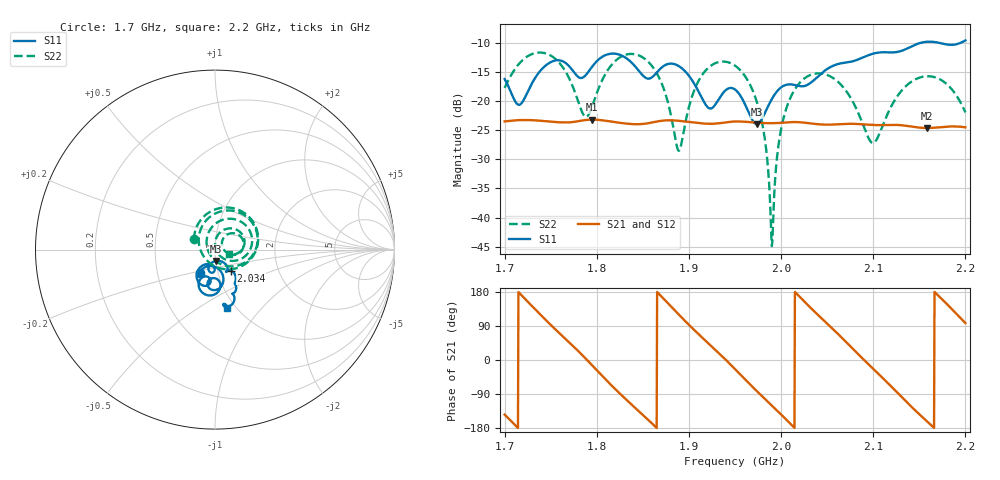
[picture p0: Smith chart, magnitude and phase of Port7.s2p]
# Hz S RI R 50
! CMT, CMT808U, 21440046, 21.4.3/4
! Date: 11/17/2025 2:46:16 PM
! Data: Format (Calibration Info)
! Freq	S11:Re/Im(F2)	S41:Re/Im(F2)	S14:Re/Im(F2)	S44:Re/Im(F2)
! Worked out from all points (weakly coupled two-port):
!   1001 points, 1.7 GHz to 2.2 GHz, reference 50 ohm
!   highest |S21| = -23.15 dB at 1.795 GHz (marker M1); lowest = -24.6 dB at 2.159 GHz (marker M2)
!   lowest |S11| = -23.9 dB at 1.974 GHz (marker M3), VSWR 1.14, Z = 50.3 - j6.39 ohm
!   |S11| at or under -10 dB: start of sweep to 2.15 GHz; 2.173 GHz to 2.194 GHz (20.28 MHz wide, 0.929 % of centre)
!   |S22| runs from -44.9 to -11.6 dB; largest |S21 - S12| = 0.00016
!   S11 on the Smith chart (normalised r, x): 1.7 GHz: 0.82, -0.22; 2.034 GHz: 1.16, -0.28; 2.2 GHz: 0.91, -0.67
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1.7e9  -0.083 -0.1315  -0.0544 -0.0393  -0.0545 -0.0393  -0.117 0.0577
1.7165e9  -0.00985 -0.0932  -0.0688 0.00543  -0.0688 0.00554  -0.0234 0.2128
1.745e9  0.0368 -0.2013  -0.0172 0.0652  -0.0171 0.0652  0.2321 0.1127
1.765e9  -0.0323 -0.2147  0.0349 0.0557  0.035 0.0557  0.1684 -0.0803
1.7835e9  -0.00437 -0.1588  0.0659 0.0175  0.066 0.0174  -0.0217 -0.0801
1.795e9  0.0303 -0.1965  0.0674 -0.0173  0.0674 -0.0174  -0.0879 0.0224
1.8285e9  -0.0777 -0.2319  -0.00742 -0.0644  -0.00752 -0.0644  0.1363 0.2059
1.867e9  -0.0255 -0.1821  -0.0672 0.00512  -0.0672 0.00521  0.14 -0.0848
1.889e9  -0.094 -0.1777  -0.0338 0.059  -0.0337 0.0591  -0.0337 -0.0167
1.914e9  -0.064 -0.0858  0.0322 0.0559  0.0323 0.0559  0.0354 0.1633
1.95e9  -0.0308 -0.1227  0.0612 -0.0275  0.0612 -0.0276  0.2022 0.0169
1.9735e9  0.00728 -0.0632  0.00946 -0.0648  0.00936 -0.0649  0.079 -0.0613
1.9825e9  0.0411 -0.0683  -0.0144 -0.0633  -0.0145 -0.0633  0.0296 -0.036
1.99e9  0.0618 -0.0845  -0.0327 -0.056  -0.0327 -0.056  0.00551 0.0013
1.997e9  0.0705 -0.1038  -0.0473 -0.0448  -0.0474 -0.0447  0.00106 0.041
2.004e9  0.0688 -0.1189  -0.0587 -0.0296  -0.0588 -0.0295  0.0134 0.0774
2.0335e9  0.0881 -0.1179  -0.0448 0.0461  -0.0448 0.0462  0.1394 0.0982
2.0665e9  0.1116 -0.1818  0.0343 0.0537  0.0344 0.0537  0.1339 -0.0159
2.0985e9  0.1158 -0.2277  0.0588 -0.0213  0.0588 -0.0214  0.0428 0.0107
2.117e9  0.096 -0.2458  0.0278 -0.0562  0.0277 -0.0562  0.0489 0.0665
2.1585e9  0.0795 -0.3157  -0.0561 -0.018  -0.0561 -0.0179  0.1568 0.0494
2.2e9  0.0676 -0.3272  -0.00777 0.0592  -0.00768 0.0592  0.0767 -0.0238
